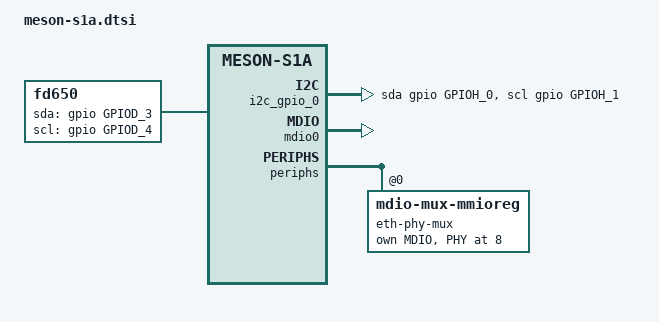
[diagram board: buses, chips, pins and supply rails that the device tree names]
/*
 * Copyright (c) 2016 Endless Computers, Inc.
 * Author: Carlo Caione <carlo@endlessm.com>
 *
 * This file is dual-licensed: you can use it either under the terms
 * of the GPL or the X11 license, at your option. Note that this dual
 * licensing only applies to this file, and not this project as a
 * whole.
 *
 *  a) This library is free software; you can redistribute it and/or
 *     modify it under the terms of the GNU General Public License as
 *     published by the Free Software Foundation; either version 2 of the
 *     License, or (at your option) any later version.
 *
 *     This library is distributed in the hope that it will be useful,
 *     but WITHOUT ANY WARRANTY; without even the implied warranty of
 *     MERCHANTABILITY or FITNESS FOR A PARTICULAR PURPOSE.  See the
 *     GNU General Public License for more details.
 *
 * Or, alternatively,
 *
 *  b) Permission is hereby granted, free of charge, to any person
 *     obtaining a copy of this software and associated documentation
 *     files (the "Software"), to deal in the Software without
 *     restriction, including without limitation the rights to use,
 *     copy, modify, merge, publish, distribute, sublicense, and/or
 *     sell copies of the Software, and to permit persons to whom the
 *     Software is furnished to do so, subject to the following
 *     conditions:
 *
 *     The above copyright notice and this permission notice shall be
 *     included in all copies or substantial portions of the Software.
 *
 *     THE SOFTWARE IS PROVIDED "AS IS", WITHOUT WARRANTY OF ANY KIND,
 *     EXPRESS OR IMPLIED, INCLUDING BUT NOT LIMITED TO THE WARRANTIES
 *     OF MERCHANTABILITY, FITNESS FOR A PARTICULAR PURPOSE AND
 *     NONINFRINGEMENT. IN NO EVENT SHALL THE AUTHORS OR COPYRIGHT
 *     HOLDERS BE LIABLE FOR ANY CLAIM, DAMAGES OR OTHER LIABILITY,
 *     WHETHER IN AN ACTION OF CONTRACT, TORT OR OTHERWISE, ARISING
 *     FROM, OUT OF OR IN CONNECTION WITH THE SOFTWARE OR THE USE OR
 *     OTHER DEALINGS IN THE SOFTWARE.
 */

#include "amlogic/meson-s1a-series.dtsi"
#include <dt-bindings/amlogic/gpio/meson-s1a-gpio.h>
#include <dt-bindings/reset/amlogic,meson-gxbb-reset.h>
#include <dt-bindings/amlogic/pwm/pwm.h>
#include <dt-bindings/amlogic/pwm/meson.h>

/ {
	compatible = "amlogic,meson-s1a";

	vpu: vpu {
		compatible = "amlogic, vpu-s4";
		status = "okay";
		/*clocks = <&clkc CLKID_VAPB_MUX>,
		 *	<&clkc CLKID_VPU_INTR>,
		 *	<&clkc CLKID_VPU_P0_COMP>,
		 *	<&clkc CLKID_VPU_P1_COMP>,
		 *	<&clkc CLKID_VPU_MUX>;
		 *clock-names = "vapb_clk",
		 *	"vpu_intr_gate",
		 *	"vpu_clk0",
		 *	"vpu_clk1",
		 *	"vpu_clk";
		 */
		clk_level = <7>;
		/* 0: 100.0M    1: 166.7M    2: 200.0M    3: 250.0M */
		/* 4: 333.3M    5: 400.0M    6: 500.0M    7: 666.7M */
	};

	fb {
		status = "okay";
		logo_addr = "0x07c00000";
	};

	pinctrl_periphs: pinctrl@fe004000 {
		compatible = "amlogic,meson-s1a-periphs-pinctrl";
		#address-cells = <2>;
		#size-cells = <2>;
		ranges;

		gpio: bank@fe004000 {
			reg = <0x0 0xfe004000 0x0 0x0064>,
			      <0x0 0xfe0040c0 0x0 0x0220>;
			reg-names = "mux",
				    "gpio";
			gpio-controller;
			#gpio-cells = <2>;
			gpio-ranges = <&pinctrl_periphs 0 0 40>;
		};
	};

	i2c_gpio_0: i2c-gpio-0 {
		#address-cells = <1>;
		#size-cells = <0>;

		compatible = "i2c-gpio";
		status = "okay";
		gpios = <&gpio GPIOH_0 GPIO_ACTIVE_HIGH>, /* SDA */
			<&gpio GPIOH_1 GPIO_ACTIVE_HIGH>; /* CLK */

		i2c-gpio,delay-us = <5>;
		is_odpin = <1>;
	};

	fd650: fd650 {
		compatible = "fd650";
		status = "okay";
		sda-gpios = <&gpio GPIOD_3 GPIO_ACTIVE_HIGH>;
		scl-gpios =  <&gpio GPIOD_4 GPIO_ACTIVE_HIGH>;
		fd650-gpio,delay-us = <1>;
	};

	pwm_ab: pwm@fe058000 {
		compatible = "amlogic,meson-v2-pwm";
		reg = <0x0 0xfe058000  0x0 0x20>,
			<0x0 0xfe000180  0x0 0x04>;
		#pwm-cells = <3>;
		status = "disabled";
	};

	pwm_cd: pwm@fe05a000 {
		compatible = "amlogic,meson-v2-pwm";
		reg = <0x0 0xfe05a000  0x0 0x20>,
			<0x0 0xfe000184  0x0 0x04>;
		#pwm-cells = <3>;
		status = "disabled";
	};

	pwm_ef: pwm@fe05c000 {
		compatible = "amlogic,meson-v2-pwm";
		reg = <0x0 0xfe05c000  0x0 0x20>,
			<0x0 0xfe000188  0x0 0x04>;
		#pwm-cells = <3>;
		status = "disabled";
	};

	pwm_gh: pwm@fe05e000 {
		compatible = "amlogic,meson-v2-pwm";
		reg = <0x0 0xfe05e000  0x0 0x20>,
			<0x0 0xfe00018c  0x0 0x04>;
			#pwm-cells = <3>;
		status = "disabled";
	};

	pwm_ij: pwm@fe060000 {
		compatible = "amlogic,meson-v2-pwm";
		reg = <0x0 0xfe060000  0x0 0x20>,
			<0x0 0xfe000190  0x0 0x04>;
		#pwm-cells = <3>;
		status = "disabled";
	};
	cvbsout: cvbsout {
		compatible = "amlogic, cvbsout-s1a";
		status = "okay";
		sva_std = <0>; /* if default sva test this value is 1*/

		/* performance: reg_address, reg_value */
		/* s1a */
		/* pal default Matrx625 CTCC value */
		performance_pal = <0xff006fc0  0x9 /* 0x1bf0 << 2 + 0xff000000 */
			0xff006c48  0x80c0 /* 0x1b12 */
			0xff006c14  0xf7 /* 0x1b05 */
			0xff006d58  0x333 /* 0x1b56 */
			0xff007164  0xf25c /* 0x1c59 */
			0xffff  0x0>; /* ending flag */
		/* ccitt033 SVA value */
		performance = <0xff006fc0  0x24 /* 0x1bf0 */
			0xff006c48  0x80c0 /* 0x1b12 */
			0xff006c14  0xf7 /* 0x1b05 */
			0xff006d58  0x333 /* 0x1b56 */
			0xff007164  0xed66 /* 0x1c59 */
			0xffff  0x0>; /* ending flag */
		performance_ntsc = <0xff006fc0  0x9 /* 0x1bf0 << 2 + 0xff000000 */
			0xff006c48  0x8020 /* 0x1b12 */
			0xff006c0c  0x0 /* 0x1b03 */
			0xff006c10  0x0 /* 0x1b04 */
			0xff006c14  0x0 /* 0x1b05 */
			0xff006d58  0x333 /* 0x1b56 */
			0xff007164  0xf850 /* 0x1c59 */
			0xffff  0x0>; /* ending flag */
	};
};

&ethmac {
	compatible = "amlogic,t7-eth-dwmac";
	reg = <0x0 0xfe368000 0x0 0x12ec
		0x0 0xfe364000 0x0 0x8
		0x0 0xfe360000 0x0 0xa0>;
	reg-names = "eth_base", "eth_top", "eth_cfg";
	phy_cntl1 = <0x41054147>;
	internal_phy = <1>;
	mc_val = <0x4be04>;
	pll_val = <0x608200a0 0xea002000 0x00000150>;
	analog_val = <0x20200000 0x0000c000 0x00000023>;
	chip_num = <3>;
	soc_num = <5>;
	/* 5: S1A */
	//tx_amp_src = <0xfe005b30>;
//	clocks = <&clkc CLKID_ETH_CORE>,
//		 <&clkc CLKID_FCLK_DIV2>,
//		 <&clkc CLKID_MPLL2>;
//	clock-names = "stmmaceth", "clkin0", "clkin1";

	mdio0: mdio {
		#address-cells = <1>;
		#size-cells = <0>;
		compatible = "snps,dwmac-mdio";
	};
};

&periphs {

	eth-phy-mux {
		compatible = "mdio-mux-mmioreg", "mdio-mux";
		#address-cells = <1>;
		#size-cells = <0>;
		reg = <0x0 0x15c 0x0 0x4>;
		mux-mask = <0xffffffff>;
		mdio-parent-bus = <&mdio0>;

		internal_mdio: mdio@e40908ff {
			reg = <0xe40908ff>;
			#address-cells = <1>;
			#size-cells = <0>;

			internal_phy: ethernet-phy@8 {
				compatible = "ethernet-phy-id0181.4400", "ethernet-phy-ieee802.3-c22";
				reg = <8>;
				max-speed = <100>;
			};
		};

		external_mdio: mdio@2009087f {
			reg = <0x2009087f>;
			#address-cells = <1>;
			#size-cells = <0>;
		};
	};
};

&saradc {
	compatible = "amlogic,meson-txhd2-saradc";
	clocks = <&xtal>,
		 <&clkc CLKID_SARADC_MUX>,
		 <&clkc CLKID_SARADC_DIV>,
		 <&clkc CLKID_SAR_ADC_GATE>;
	clock-names = "xtal", "adc_mux", "adc_div", "adc_gate";
};

&sd_emmc_a {
//	clocks = <&clkc CLKID_SD_EMMC_A_MUX>,
//		    <&clkc CLKID_SD_EMMC_A_DIV>,
//			<&clkc CLKID_SD_EMMC_A_GATE>,
//			<&clkc CLKID_FCLK_DIV2>,
//			<&clkc CLKID_XTAL>;
//			clock-names = "mux", "div", "gate", "clkin", "xtal";
};

&sd_emmc_b {
//	clocks = <&clkc CLKID_SD_EMMC_B_MUX>,
//		    <&clkc CLKID_SD_EMMC_B_DIV>,
//			<&clkc CLKID_SD_EMMC_B_GATE>,
//			<&clkc CLKID_FCLK_DIV2>,
//			<&clkc CLKID_XTAL>;
//			clock-names = "mux", "div", "gate", "clkin", "xtal";
};

&sd_emmc_c {
//	clocks = <&clkc CLKID_SD_EMMC_C_MUX>,
//			<&clkc CLKID_SD_EMMC_C_DIV>,
//			<&clkc CLKID_SD_EMMC_C_GATE>,
//			<&clkc CLKID_FCLK_DIV2>,
//			<&clkc CLKID_XTAL>;
//			clock-names = "mux", "div", "gate", "clkin", "xtal";
};

&nand {
//	clocks = <&clkc CLKID_SD_EMMC_C_MUX>,
//			<&clkc CLKID_SD_EMMC_C_DIV>,
//			<&clkc CLKID_SD_EMMC_C_GATE>,
//			<&clkc CLKID_FCLK_DIV2>,
//			<&clkc CLKID_XTAL>;
//	clock-names = "mux", "div", "gate", "fdiv2", "xtal";
};

&spicc0 {
//	clocks = <&clkc CLKID_SPICC_A_DIV>, <&clkc CLKID_SPICC_A_GATE>;
//	clock-names = "async", "async-gate";
//	assigned-clocks = <&clkc CLKID_SPICC_A_MUX>, <&clkc CLKID_SPICC_A_DIV>;
//	assigned-clock-parents = <&clkc CLKID_FCLK_DIV2>;
	assigned-clock-rates = <0>, <500000000>;
};

&pinctrl_periphs {
	remote_input_ao_pins:remote_input_ao_pins {
		mux {
			groups = "ir_remote_input_d2";
			function = "ir_remote_input";
			bias-disable;
		};
	};

	i2c0_pins1:i2c0_pins1 {
		mux {
			groups = "i2c0_scl_d0",
				"i2c0_sda_d1";
			function = "i2c0";
			drive-strength = <3>;
			bias-disable;
		};
	};

	i2c0_pins2:i2c0_pins2 {
		mux {
			groups = "i2c0_scl_d5",
				"i2c0_sda_d6";
			function = "i2c0";
			drive-strength = <3>;
			bias-disable;
		};
	};

	i2c0_pins3:i2c0_pins3 {
		mux {
			groups = "i2c0_sda_d9",
				"i2c0_scl_d10";
			function = "i2c0";
			drive-strength = <3>;
			bias-disable;
		};
	};

	i2c0_pins4:i2c0_pins4 {
		mux {
			groups = "i2c0_scl_z0",
				"i2c0_sda_z1";
			function = "i2c0";
			drive-strength = <3>;
			bias-disable;
		};
	};


	i2c1_pins1:i2c1_pins1 {
		mux {
			groups = "i2c1_sda",
				"i2c1_scl";
			function = "i2c1";
			drive-strength = <3>;
			bias-disable;
		};
	};

	i2c2_pins1:i2c2_pins1 {
		mux {
			groups = "i2c2_sda_d3",
				"i2c2_scl_d4";
			function = "i2c2";
			drive-strength = <3>;
			bias-disable;
		};
	};

	i2c2_pins2:i2c2_pins2 {
		mux {
			groups = "i2c2_sda_d7",
				"i2c2_scl_d8";
			function = "i2c2";
			drive-strength = <3>;
			bias-disable;
		};
	};

	i2c2_pins3:i2c2_pins3 {
		mux {
			groups = "i2c2_sda_z2",
				"i2c2_scl_z5";
			function = "i2c2";
			drive-strength = <3>;
			bias-disable;
		};
	};

	i2c2_pins4:i2c2_pins4 {
		mux {
			groups = "i2c2_sda_z6",
				"i2c2_scl_z7";
			function = "i2c2";
			drive-strength = <3>;
			bias-disable;
		};
	};

	jtag_a_pins:jtag_a_pin {
		mux {
			groups = "jtag_clk",
			"jtag_tms",
			"jtag_tdi",
			"jtag_tdo";
			function = "jtag";
		};
	};

	jtag_b_pins:jtag_b_pin {
		mux {
			groups = "jtag_2_clk",
			"jtag_2_tms",
			"jtag_2_tdi",
			"jtag_2_tdo";
			function = "jtag_2";
		};
	};

	swd_a_pins:swd_a_pin {
		mux {
			groups = "swclk",
			"swdio";
			function = "sw";
		};
	};

	emmc_pins: emmc {
		mux {
			groups = "emmc_nand_d0",
				"emmc_nand_d1",
				"emmc_nand_d2",
				"emmc_nand_d3",
				"emmc_nand_d4",
				"emmc_nand_d5",
				"emmc_nand_d6",
				"emmc_nand_d7",
				"emmc_clk",
				"emmc_cmd";
			function = "emmc";
			bias-pull-up;
			input-enable;
		};
		mux1 {
			groups = "emmc_nand_ds";
			function = "emmc";
			input-enable;
			bias-pull-down;
		};
	};

	emmc_clk_gate_pins: emmc_clk_gate {
		mux {
			groups = "emmc_clk";
			function = "emmc";
			bias-pull-down;
		};
	};

	all_nand_pins: all_nand_pins {
		mux {
			groups =  "emmc_nand_d0",
				"emmc_nand_d1",
				"emmc_nand_d2",
				"emmc_nand_d3",
				"emmc_nand_d4",
				"emmc_nand_d5",
				"emmc_nand_d6",
				"emmc_nand_d7",
				"nand_ce0",
				"nand_ale",
				"nand_cle",
				"nand_wen_clk",
				"nand_ren_wr";
			function = "nand";
			input-enable;
		};
	};

	nand_cs_pins: nand_cs {
		mux {
			groups = "nand_ce0";
			function = "nand";
		};
	};

	sdcard_pins: sdcard {
		mux {
			groups = "sdcard_d0_c",
				"sdcard_d1_c",
				"sdcard_d2_c",
				"sdcard_d3_c",
				"sdcard_cmd_c";
			function = "sdcard";
			bias-pull-up;
			input-enable;
			drive-strength = <4>;
		};
		mux1 {
			groups ="sdcard_clk_c";
			function = "sdcard";
			bias-pull-up;
			output-high;
			drive-strength = <4>;
		};
	};

	sdcard_clk_gate_pins: sdcard_clk_gate {
		mux {
			groups = "sdcard_clk_c";
			function = "sdcard";
			bias-pull-down;
		};
	};

	to_sduart_pins: to_sduart_pins{
		mux {
			groups = "uart_b_rx_c", "uart_b_tx_c";
			function = "uart_b";
			bias-pull-up;
			input-enable;
		};
	};

	sd_to_uart_pins: sd_to_uart_pins{
		mux {
			groups = "uart_b_rx_d", "uart_b_tx_d";
			function = "uart_b";
			bias-pull-up;
			input-enable;
		};
	};

	spicc0_pins_x: spicc0_pins_x {
		mux {
			groups = "spi_a_mosi_x",
				 "spi_a_miso_x",
				 //"spi_a_ss0_x",
				 "spi_a_clk_x";
			function = "spi_a";
			drive-strength = <2>;
		};
	};

	spicc0_pins_h: spicc0_pins_h {
		mux {
			groups = "spi_a_mosi_h",
				 "spi_a_miso_h",
				 //"spi_a_ss0_h",
				 "spi_a_clk_h";
			function = "spi_a";
			drive-strength = <2>;
		};
	};

	spicc0_pins_z: spicc0_pins_z {
		mux {
			groups = "spi_a_mosi_z",
				 "spi_a_miso_z",
				 //"spi_a_ss0_z",
				 "spi_a_clk_z";
			function = "spi_a";
			drive-strength = <2>;
		};
	};

	spi_nfc_pins: spi_nfc_pins {
		mux {
			groups = "spinf_mo_d0",
				 "spinf_mi_d1",
				 "spinf_wp_d2",
				 "spinf_hold_d3",
				 "spinf_clk",
				 "spinf_cs";
			function = "spinf";
			drive-strength = <3>;
		};
	};

	pwm_a_pins: pwm_a_pins {
		mux {
			groups = "pwm_a_d";
			function = "pwm_a";
		};
	};

	pwm_b_pins1: pwm_b_pins1 {
		mux {
			groups = "pwm_b_d";
			function = "pwm_b";
		};
	};

	pwm_b_pins2: pwm_b_pins2 {
		mux {
			groups = "pwm_b_x";
			function = "pwm_b";
		};
	};

	pwm_c_pins1: pwm_c_pins1 {
		mux {
			groups = "pwm_c_d";
			function = "pwm_c";
		};
	};

	pwm_c_pins2: pwm_c_pins2 {
		mux {
			groups = "pwm_c_x";
			function = "pwm_c";
		};
	};

	pwm_d_pins1: pwm_d_pins1 {
		mux {
			groups = "pwm_d_d";
			function = "pwm_d";
		};
	};

	pwm_d_pins2: pwm_d_pins2 {
		mux {
			groups = "pwm_d_h";
			function = "pwm_d";
		};
	};

	pwm_e_pins1: pwm_e_pins1 {
		mux {
			groups = "pwm_e_x";
			function = "pwm_e";
		};
	};

	pwm_e_pins2: pwm_e_pins2 {
		mux {
			groups = "pwm_e_z";
			function = "pwm_e";
		};
	};

	pwm_f_pins1: pwm_f_pins1 {
		mux {
			groups = "pwm_f_x";
			function = "pwm_f";
		};
	};

	pwm_f_pins2: pwm_f_pins2 {
		mux {
			groups = "pwm_f_z";
			function = "pwm_f";
		};
	};

	pwm_g_pins1: pwm_g_pins1 {
		mux {
			groups = "pwm_g_d";
			function = "pwm_g";
		};
	};

	pwm_g_pins2: pwm_g_pins2 {
		mux {
			groups = "pwm_g_z";
			function = "pwm_g";
		};
	};

	pwm_h_pins: pwm_h_pins {
		mux {
			groups = "pwm_h";
			function = "pwm_h";
		};
	};

	pwm_i_pins1: pwm_i_pins1 {
		mux {
			groups = "pwm_i_d";
			function = "pwm_i";
		};
	};

	pwm_i_pins2: pwm_i_pins2 {
		mux {
			groups = "pwm_i_h";
			function = "pwm_i";
		};
	};

	pwm_j_pins: pwm_j_pins {	
		mux {
			groups = "pwm_j";
			function = "pwm_j";
		};
	};

	pwm_a_hiz_pins: pwm_a_hiz_pins {
		mux {
			groups = "pwm_a_hiz";
			function = "pwm_a_hiz";
		};
	};

	pwm_b_hiz_pins: pwm_b_hiz_pins {
		mux {
			groups = "pwm_b_hiz";
			function = "pwm_b_hiz";
		};
	};

	pwm_c_hiz_pins: pwm_c_hiz_pins {
		mux {
			groups = "pwm_c_hiz";
			function = "pwm_b_hiz";
		};
	};

	pwm_g_hiz_pins: pwm_g_hiz_pins {
		mux {
			groups = "pwm_g_hiz";
			function = "pwm_g_hiz";
		};
	};
};
